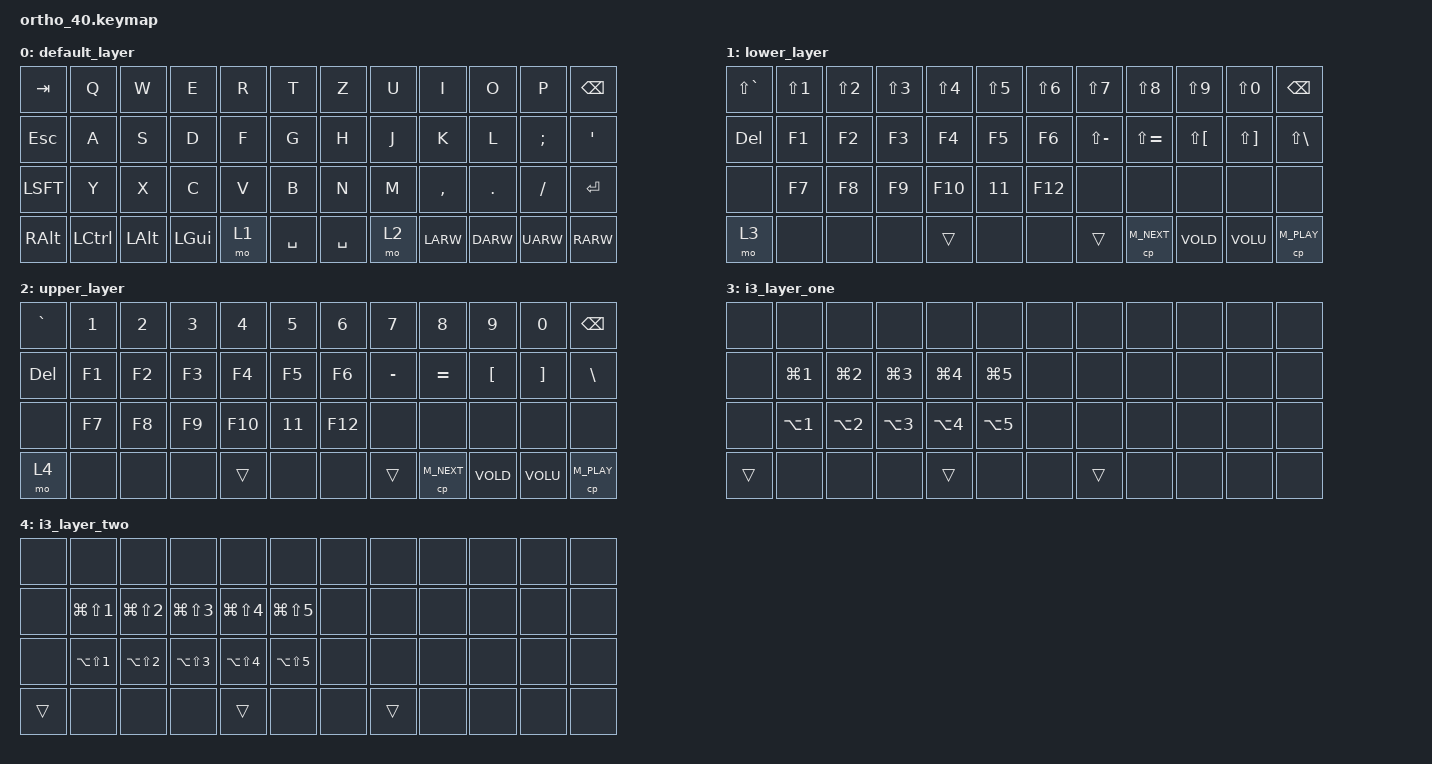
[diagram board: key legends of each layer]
#include <behaviors.dtsi>
#include <dt-bindings/zmk/keys.h>

/ {
  
	keymap {
		compatible = "zmk,keymap";

		default_layer {
			bindings = <
	&kp TAB &kp Q &kp W &kp E &kp R &kp T &kp Z &kp U &kp I &kp O &kp P &kp BKSP
	&kp ESC &kp A &kp S &kp D &kp F &kp G &kp H &kp J &kp K &kp L &kp SCLN &kp QUOT
	&kp LSFT &kp Y &kp X &kp C &kp V &kp B &kp N &kp M &kp CMMA &kp DOT &kp FSLH &kp RET
	&kp RALT &kp LCTL &kp LALT &kp LGUI &mo 1 &kp SPC &kp SPC &mo 2 &kp LARW &kp DARW &kp UARW &kp RARW
			>;

		};
		lower_layer {
		bindings = <
	&kp LS(GRAV) &kp LS(N1) &kp LS(N2) &kp LS(N3) &kp LS(N4) &kp LS(N5) &kp LS(N6) &kp LS(N7) &kp LS(N8) &kp LS(N9) &kp LS(N0) &kp BKSP
	&kp DEL &kp F1 &kp F2 &kp F3 &kp F4 &kp F5 &kp F6 &kp LS(MINUS) &kp LS(EQL) &kp LS(LBKT) &kp LS(RBKT) &kp LS(BSLH)
	&none &kp F7 &kp F8 &kp F9 &kp F10 &kp 11 &kp F12 &none &none &none &none &none
	&mo 3 &none &none &none &trans &none &none &trans &cp M_NEXT &kp VOLD &kp VOLU &cp M_PLAY
	>;

		};
	
		upper_layer {
		bindings = < 
	&kp GRAV &kp N1 &kp N2 &kp N3 &kp N4 &kp N5 &kp N6 &kp N7 &kp N8 &kp N9 &kp N0 &kp BKSP
	&kp DEL &kp F1 &kp F2 &kp F3 &kp F4 &kp F5 &kp F6 &kp MINUS &kp EQL &kp LBKT &kp RBKT &kp BSLH
	&none &kp F7 &kp F8 &kp F9 &kp F10 &kp 11 &kp F12 &none &none &none &none &none
	&mo 4 &none &none &none &trans &none &none &trans &cp M_NEXT &kp VOLD &kp VOLU &cp M_PLAY
	>;
		};
		i3_layer_one {
		bindings = < 
	&none &none &none &none &none &none &none &none &none &none &none &none
	&none &kp LG(N1) &kp LG(N2) &kp LG(N3) &kp LG(N4) &kp LG(N5) &none &none &none &none &none &none
	&none &kp LA(N1) &kp LA(N2) &kp LA(N3) &kp LA(N4) &kp LA(N5) &none &none &none &none &none &none
	&trans &none &none &none &trans &none &none &trans &none &none &none &none
	>;
		};
		i3_layer_two {
		bindings = < 
	&none &none &none &none &none &none &none &none &none &none &none &none
	&none &kp LG(LS(N1)) &kp LG(LS(N2)) &kp LG(LS(N3)) &kp LG(LS(N4)) &kp LG(LS(N5)) &none &none &none &none &none &none
	&none &kp LA(LS(N1)) &kp LA(LS(N2)) &kp LA(LS(N3)) &kp LA(LS(N4)) &kp LA(LS(N5)) &none &none &none &none &none &none
	&trans &none &none &none &trans &none &none &trans &none &none &none &none
	>;
		};
	};
};
